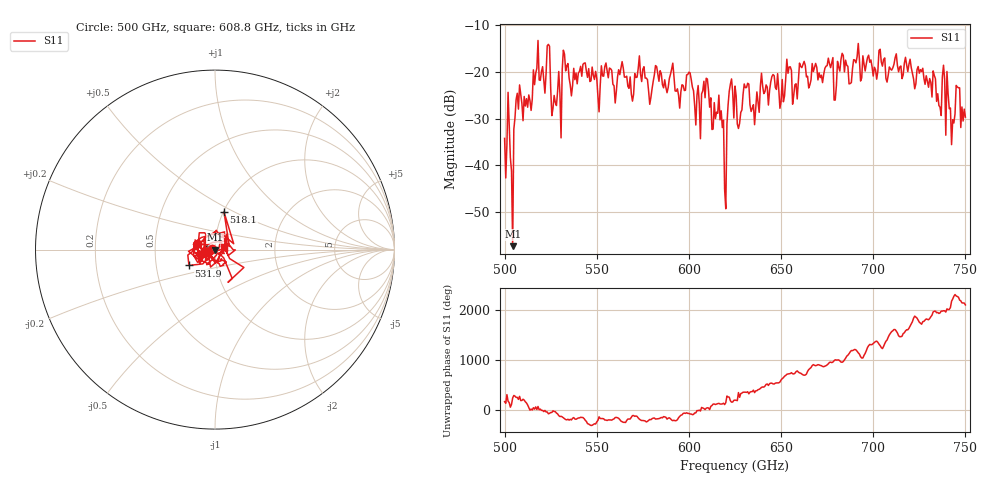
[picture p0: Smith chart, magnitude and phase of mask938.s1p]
!Created with skrf (http://scikit-rf.org).
# GHz S MA R 50.0
!freq magS11 angS11
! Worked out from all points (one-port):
!   401 points, 500 GHz to 750 GHz, reference 50 ohm
!   lowest |S11| = -57.2 dB at 504.4 GHz (marker M1), VSWR 1.00, Z = 49.9 - j0.127 ohm
!   |S11| at or under -10 dB: start of sweep to end of sweep
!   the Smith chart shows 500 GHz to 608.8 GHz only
!   S11 on the Smith chart (normalised r, x): 500 GHz: 0.96, +0.00; 518.1 GHz: 1.01, +0.44; 531.9 GHz: 0.74, -0.13; 608.8 GHz: 1.11, +0.03
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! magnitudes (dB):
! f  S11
! 500 GHz  -34.2
! 502.5 GHz  -31.6
! 504.4 GHz  -57.2
! 507.5 GHz  -28.0
! 513.8 GHz  -26.1
! 518.1 GHz  -13.3
! 523.8 GHz  -14.2
! 526.9 GHz  -25.1
! 531.2 GHz  -19.6
! 531.9 GHz  -15.4
! 562.5 GHz  -20.6
! 579.4 GHz  -25.5
! 590.6 GHz  -19.5
! 593.8 GHz  -23.6
! 600 GHz  -20.1
! 605 GHz  -22.9
! 608.8 GHz  -25.5
! 617.5 GHz  -28.3
! 619.4 GHz  -45.2
! 622.5 GHz  -22.6
! 625 GHz  -23.1
! 654.4 GHz  -19.0
! 656.2 GHz  -26.9
! 661.2 GHz  -19.1
! 687.5 GHz  -22.5
! 690.6 GHz  -18.1
! 718.8 GHz  -20.0
! 750 GHz  -29.7
